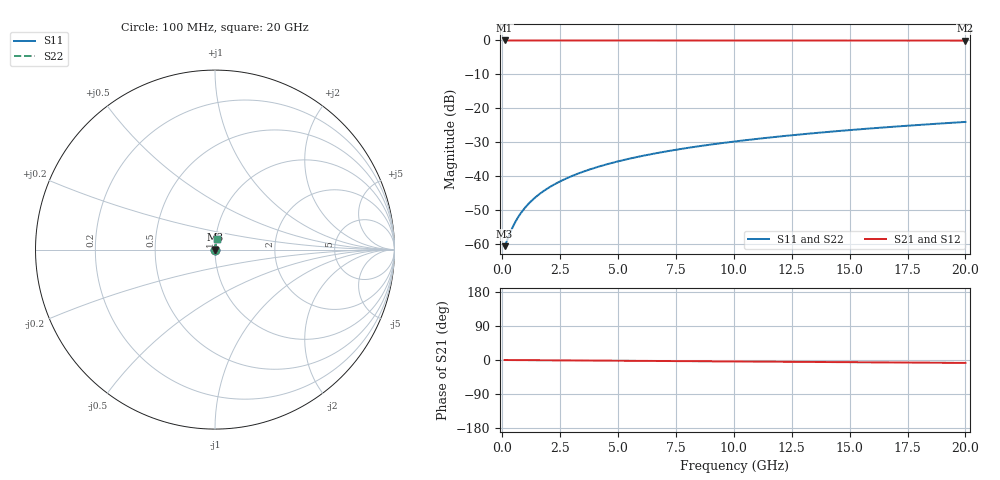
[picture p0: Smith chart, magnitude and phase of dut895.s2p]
! Touchstone file exported from HFSS 2026.1.0
!  File:  C:/ffzhzh/LocalFiles/Ansys_Project_Files/temp_train_TSV_895_1783186041_18472.aedt
!  Generated:  01:29:24 AM Jul  5, 2026
!  Design:  TSV
!  Project:  temp_train_TSV_895_1783186041_18472
! Variables:
!  h_bsmrdl = 2um
!  h_ox = 20um
!  h_rdl = 5um
!  h_sub = 68.87um
!  h_tmrdl = 5um
!  h_tsv = 68.87um
!  h_via = 3um
!  l_bsmrdl = 300um
!  l_sub = 406.18um
!  l_tmrdl = 200um
!  m_sub = 200um
!  pitch = 27.45um
!  r_tsv = 3.09um
!  s_tmrdl = 10um
!  w_bsmrdl = 18um
!  w_sub = 500um
!  w_tmrdl = 12um
!  x_tsv_center1 = 206um
!  x_tsv_center2 = 524um
!  x_tsv_center3 = 736um
!  x_tsv_center4 = 1054um
!  x_tsv_center5 = 1266um
!  x_tsv_center6 = 1584um
# GHz S MA R 50.000000
! Terminal data exported
! Port[1] = TSV1_1_T1
! Port[2] = TSV1_1_T2
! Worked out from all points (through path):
!   200 points, 100 MHz to 20 GHz, reference 50 ohm
!   highest |S21| = -0.01 dB at 100 MHz (marker M1); lowest = 0.0 dB at 20 GHz (marker M2)
!   group delay of S21, straight-line fit = 1.07 ps
!   lowest |S11| = -60.7 dB at 100 MHz (marker M3), VSWR 1.00, Z = 50.1 + j0.0345 ohm
!   |S11| at or under -10 dB: start of sweep to end of sweep
!   |S22| runs from -60.7 to -24.1 dB; largest |S21 - S12| = 6.8e-15
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0.1  0.0009209 22.0  0.9991 -0.0  0.9991 -0.0  0.0009209 22.0
! Gamma 0 0 0 0
! Port Impedance 50 0 50 0
0.4  0.001618 56.8  0.9991 -0.2  0.9991 -0.2  0.001618 56.8
0.5  0.001908 62.0  0.9991 -0.2  0.9991 -0.2  0.001908 62.0
0.6  0.002208 65.8  0.9991 -0.2  0.9991 -0.2  0.002208 65.8
0.7  0.002515 68.6  0.9991 -0.3  0.9991 -0.3  0.002515 68.6
0.9  0.003142 72.7  0.9991 -0.4  0.9991 -0.4  0.003142 72.7
1.1  0.00378 75.4  0.9991 -0.4  0.9991 -0.4  0.00378 75.4
1.3  0.004424 77.2  0.9991 -0.5  0.9991 -0.5  0.004424 77.2
1.7  0.005722 79.6  0.999 -0.7  0.999 -0.7  0.005722 79.6
2.2  0.007353 81.3  0.999 -0.9  0.999 -0.9  0.007353 81.3
2.8  0.009311 82.4  0.9989 -1.1  0.9989 -1.1  0.009311 82.4
3.5  0.01159 83.0  0.9988 -1.4  0.9988 -1.4  0.01159 83.0
4.2  0.01386 83.3  0.9987 -1.6  0.9987 -1.6  0.01386 83.3
5  0.01643 83.4  0.9985 -2.0  0.9985 -2.0  0.01643 83.4
5.9  0.01931 83.4  0.9984 -2.3  0.9984 -2.3  0.01931 83.4
6.8  0.02216 83.3  0.9982 -2.7  0.9982 -2.7  0.02216 83.3
8.3  0.02688 83.0  0.9979 -3.2  0.9979 -3.2  0.02688 83.0
10.1  0.03248 82.6  0.9975 -3.9  0.9975 -3.9  0.03248 82.6
11.7  0.03743 82.1  0.9971 -4.5  0.9971 -4.5  0.03743 82.1
13.4  0.04265 81.7  0.9967 -5.2  0.9967 -5.2  0.04265 81.7
16.7  0.05273 80.7  0.996 -6.4  0.996 -6.4  0.05273 80.7
20  0.06273 79.7  0.9951 -7.7  0.9951 -7.7  0.06273 79.7
